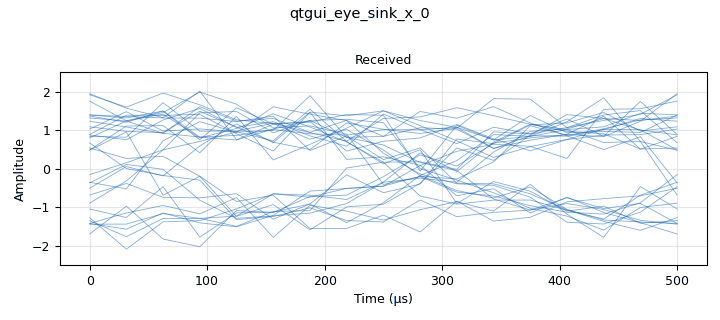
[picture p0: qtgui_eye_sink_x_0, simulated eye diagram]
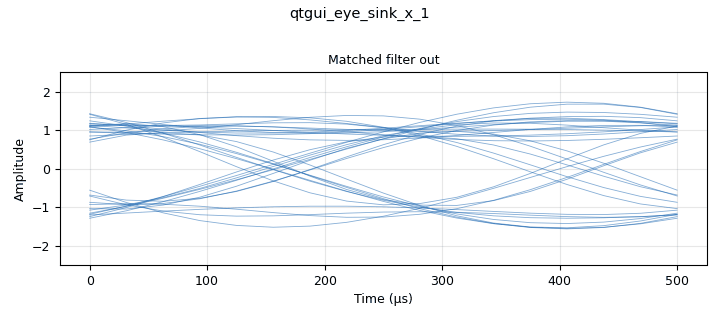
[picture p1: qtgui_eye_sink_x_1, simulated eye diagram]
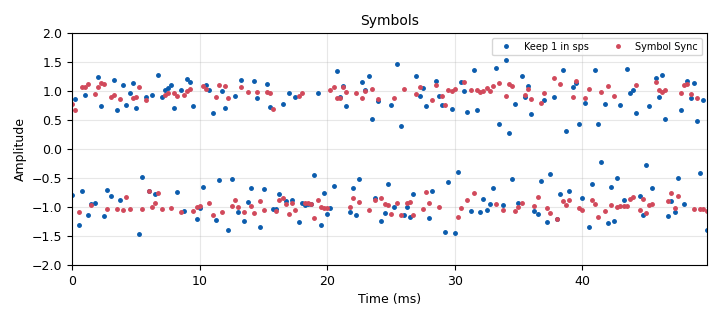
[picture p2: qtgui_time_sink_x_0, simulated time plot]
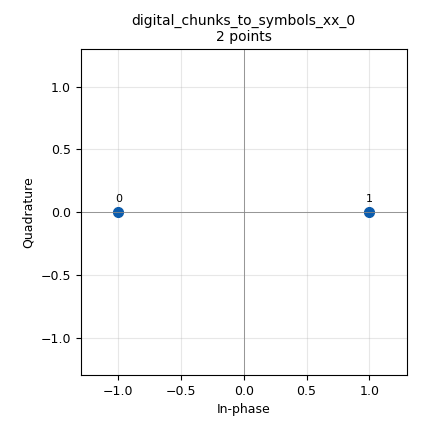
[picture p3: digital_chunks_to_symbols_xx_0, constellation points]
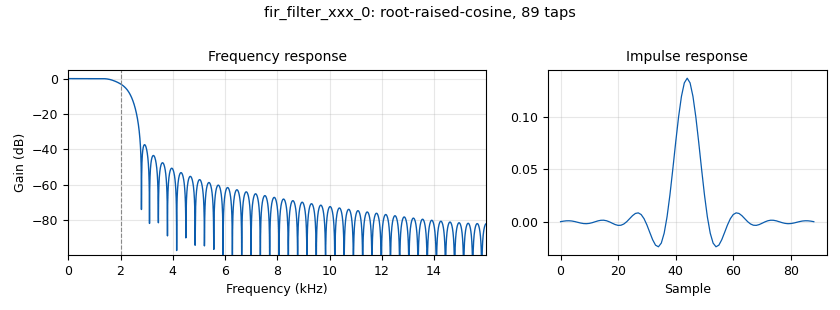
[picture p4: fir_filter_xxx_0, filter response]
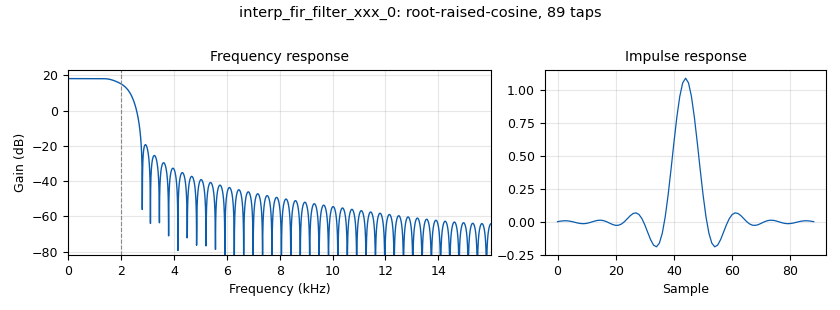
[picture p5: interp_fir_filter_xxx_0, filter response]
options:
  parameters:
    author: ECE 448
    description: 'L9: an RRC-shaped 2-PAM signal through noise and a receiver clock error, then a matched filter and a Symbol Sync block. Compare the eyes, and compare plain decimation with timing recovery.'
    generate_options: qt_gui
    id: L09_matched_filter
    output_language: python
    title: L9 - Matched Filter and Timing Recovery
  states: {}

blocks:
- name: alpha
  id: variable
  parameters:
    value: '0.35'
  states: {}
- name: noise
  id: variable_qtgui_range
  parameters:
    gui_hint: 0,0,1,1
    label: Noise amplitude
    min_len: '120'
    start: '0'
    step: '0.05'
    stop: '1.5'
    value: '0.3'
  states: {}
- name: ppm
  id: variable_qtgui_range
  parameters:
    gui_hint: 0,1,1,2
    label: Clock error (ppm)
    min_len: '120'
    start: '0'
    step: '50'
    stop: '2000'
    value: '500'
  states: {}
- name: rx_taps
  id: variable
  parameters:
    value: firdes.root_raised_cosine(1.0, samp_rate, samp_rate/sps, alpha, 11*sps)
  states: {}
- name: samp_rate
  id: variable
  parameters:
    value: '32000'
  states: {}
- name: sps
  id: variable
  parameters:
    value: '8'
  states: {}
- name: tx_taps
  id: variable
  parameters:
    value: firdes.root_raised_cosine(sps, samp_rate, samp_rate/sps, alpha, 11*sps)
  states: {}
- name: analog_noise_source_x_0
  id: analog_noise_source_x
  parameters:
    amp: noise
    noise_type: analog.GR_GAUSSIAN
    seed: '0'
    type: float
  states: {}
- name: analog_random_source_x_0
  id: analog_random_source_x
  parameters:
    max: '2'
    min: '0'
    num_samps: '10000'
    repeat: 'True'
    type: byte
  states: {}
- name: blocks_add_xx_0
  id: blocks_add_xx
  parameters:
    type: float
  states: {}
- name: blocks_keep_one_in_n_0
  id: blocks_keep_one_in_n
  parameters:
    n: sps
    type: float
  states: {}
- name: blocks_throttle2_0
  id: blocks_throttle2
  parameters:
    samples_per_second: samp_rate/sps
    type: float
  states: {}
- name: digital_chunks_to_symbols_xx_0
  id: digital_chunks_to_symbols_xx
  parameters:
    dimension: '1'
    in_type: byte
    out_type: float
    symbol_table: '[-1, 1]'
  states: {}
- name: digital_symbol_sync_xx_0
  id: digital_symbol_sync_xx
  parameters:
    damping: '1.0'
    loop_bw: '0.045'
    max_dev: '1.5'
    osps: '1'
    resamp_type: digital.IR_MMSE_8TAP
    sps: sps
    ted_gain: '1.0'
    ted_type: digital.TED_GARDNER
    type: ff
  states: {}
- name: fir_filter_xxx_0
  id: fir_filter_xxx
  parameters:
    comment: Matched filter
    decim: '1'
    taps: rx_taps
    type: fff
  states: {}
- name: interp_fir_filter_xxx_0
  id: interp_fir_filter_xxx
  parameters:
    comment: Transmitter
    interp: sps
    taps: tx_taps
    type: fff
  states: {}
- name: mmse_resampler_xx_0
  id: mmse_resampler_xx
  parameters:
    comment: Channel
    phase_shift: '0'
    resamp_ratio: 1 + ppm*1e-6
    type: float
  states: {}
- name: qtgui_eye_sink_x_0
  id: qtgui_eye_sink_x
  parameters:
    gui_hint: 1,0,1,1
    label1: Received
    samp_per_symbol: sps
    size: '512'
    srate: samp_rate
    type: float
    ymax: '2.5'
    ymin: '-2.5'
  states: {}
- name: qtgui_eye_sink_x_1
  id: qtgui_eye_sink_x
  parameters:
    gui_hint: 1,1,1,1
    label1: Matched filter out
    samp_per_symbol: sps
    size: '512'
    srate: samp_rate
    type: float
    ymax: '2.5'
    ymin: '-2.5'
  states: {}
- name: qtgui_time_sink_x_0
  id: qtgui_time_sink_x
  parameters:
    gui_hint: 1,2,1,1
    label1: Keep 1 in sps
    label2: Symbol Sync
    marker1: '0'
    marker2: '0'
    name: '"Symbols"'
    nconnections: '2'
    size: '200'
    srate: samp_rate/sps
    style1: '0'
    style2: '0'
    type: float
    ymax: '2'
    ymin: '-2'
  states: {}

connections:
- [analog_noise_source_x_0, '0', blocks_add_xx_0, '1']
- [analog_random_source_x_0, '0', digital_chunks_to_symbols_xx_0, '0']
- [blocks_add_xx_0, '0', fir_filter_xxx_0, '0']
- [blocks_add_xx_0, '0', qtgui_eye_sink_x_0, '0']
- [blocks_keep_one_in_n_0, '0', qtgui_time_sink_x_0, '0']
- [blocks_throttle2_0, '0', interp_fir_filter_xxx_0, '0']
- [digital_chunks_to_symbols_xx_0, '0', blocks_throttle2_0, '0']
- [digital_symbol_sync_xx_0, '0', qtgui_time_sink_x_0, '1']
- [fir_filter_xxx_0, '0', blocks_keep_one_in_n_0, '0']
- [fir_filter_xxx_0, '0', digital_symbol_sync_xx_0, '0']
- [fir_filter_xxx_0, '0', qtgui_eye_sink_x_1, '0']
- [interp_fir_filter_xxx_0, '0', mmse_resampler_xx_0, '0']
- [mmse_resampler_xx_0, '0', blocks_add_xx_0, '0']

metadata:
  file_format: 1
  grc_version: 3.10.9.2
